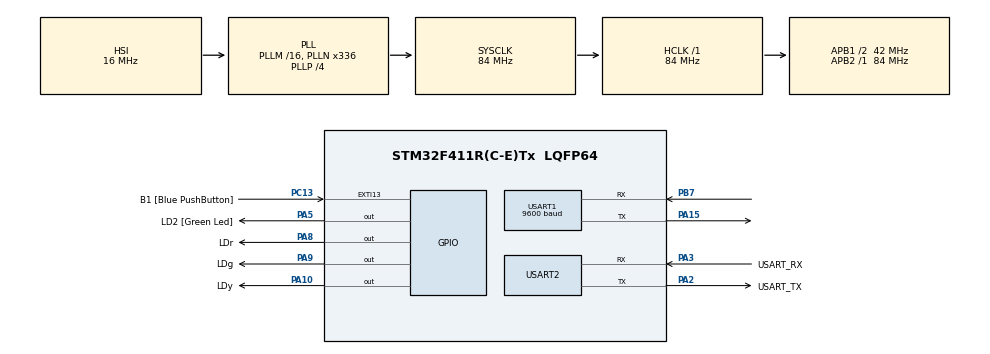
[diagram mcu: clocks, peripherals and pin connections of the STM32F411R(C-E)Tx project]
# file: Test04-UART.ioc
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Dma.Request0=USART2_RX
Dma.USART2_RX.0.Direction=DMA_PERIPH_TO_MEMORY
Dma.USART2_RX.0.FIFOMode=DMA_FIFOMODE_DISABLE
Dma.USART2_RX.0.Instance=DMA1_Stream5
Dma.USART2_RX.0.MemDataAlignment=DMA_MDATAALIGN_BYTE
Dma.USART2_RX.0.MemInc=DMA_MINC_ENABLE
Dma.USART2_RX.0.Mode=DMA_CIRCULAR
Dma.USART2_RX.0.PeriphDataAlignment=DMA_PDATAALIGN_BYTE
Dma.USART2_RX.0.PeriphInc=DMA_PINC_DISABLE
Dma.USART2_RX.0.Priority=DMA_PRIORITY_LOW
Mcu.Family=STM32F4
Mcu.Name=STM32F411R(C-E)Tx
Mcu.Package=LQFP64
NVIC.DMA1_Stream5_IRQn=true\:0\:0\:false\:false\:true\:false\:true\:true
NVIC.EXTI15_10_IRQn=true\:0\:0\:false\:false\:true\:true\:true\:true
NVIC.PriorityGroup=NVIC_PRIORITYGROUP_0
NVIC.TIM3_IRQn=true\:0\:0\:false\:false\:true\:true\:true\:true
NVIC.USART1_IRQn=true\:0\:0\:false\:false\:true\:true\:true\:true
PA10.GPIO_Label=LDy
PA10.Signal=GPIO_Output
PA13.GPIO_Label=TMS
PA13.Mode=Serial_Wire
PA13.Signal=SYS_JTMS-SWDIO
PA14.GPIO_Label=TCK
PA14.Mode=Serial_Wire
PA14.Signal=SYS_JTCK-SWCLK
PA15.Mode=Asynchronous
PA15.Signal=USART1_TX
PA2.GPIO_Label=USART_TX
PA2.Mode=Asynchronous
PA2.Signal=USART2_TX
PA3.GPIO_Label=USART_RX
PA3.Mode=Asynchronous
PA3.Signal=USART2_RX
PA5.GPIO_Label=LD2 [Green Led]
PA5.Signal=GPIO_Output
PA8.GPIO_Label=LDr
PA8.Signal=GPIO_Output
PA9.GPIO_Label=LDg
PA9.Signal=GPIO_Output
PB3.GPIO_Label=SWO
PB3.Signal=SYS_JTDO-SWO
PB7.Mode=Asynchronous
PB7.Signal=USART1_RX
PC13-ANTI_TAMP.GPIO_Label=B1 [Blue PushButton]
PC13-ANTI_TAMP.GPIO_ModeDefaultEXTI=GPIO_MODE_IT_FALLING
PC13-ANTI_TAMP.Signal=GPXTI13
PC14-OSC32_IN.Mode=LSE-External-Oscillator
PC14-OSC32_IN.Signal=RCC_OSC32_IN
PC15-OSC32_OUT.Mode=LSE-External-Oscillator
PC15-OSC32_OUT.Signal=RCC_OSC32_OUT
PH0\ -\ OSC_IN.Mode=HSE-External-Clock-Source
PH0\ -\ OSC_IN.Signal=RCC_OSC_IN
PH1\ -\ OSC_OUT.Mode=HSE-External-Clock-Source
PH1\ -\ OSC_OUT.Signal=RCC_OSC_OUT
ProjectManager.HeapSize=0x200
ProjectManager.StackSize=0x400
ProjectManager.TargetToolchain=STM32CubeIDE
RCC.48MHZClocksFreq_Value=84000000
RCC.AHBFreq_Value=84000000
RCC.APB1CLKDivider=RCC_HCLK_DIV2
RCC.APB1Freq_Value=42000000
RCC.APB1TimFreq_Value=84000000
RCC.APB2Freq_Value=84000000
RCC.APB2TimFreq_Value=84000000
RCC.CortexFreq_Value=84000000
RCC.FLatency-AdvancedSettings=FLASH_LATENCY_2
RCC.HCLKFreq_Value=84000000
RCC.HSE_VALUE=8000000
RCC.HSI_VALUE=16000000
RCC.PLLN=336
RCC.PLLP=RCC_PLLP_DIV4
RCC.SYSCLKFreq_VALUE=84000000
RCC.SYSCLKSource=RCC_SYSCLKSOURCE_PLLCLK
RCC.VCOOutputFreq_Value=336000000
TIM3.Period=10000-1
TIM3.Prescaler=8400-1
USART1.BaudRate=9600
USART1.VirtualMode=VM_ASYNC
USART2.VirtualMode=VM_ASYNC
VP_TIM3_VS_ClockSourceINT.Mode=Internal
board=NUCLEO-F411RE

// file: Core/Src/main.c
/* USER CODE BEGIN Header */
/**
  ******************************************************************************
  * @file           : main.c
  * @brief          : Main program body
  ******************************************************************************
  * @attention
  *
  * Copyright (c) 2023 STMicroelectronics.
  * All rights reserved.
  *
  * This software is licensed under terms that can be found in the LICENSE file
  * in the root directory of this software component.
  * If no LICENSE file comes with this software, it is provided AS-IS.
  *
  ******************************************************************************
  */
/* USER CODE END Header */
#include "main.h"

/* USER CODE BEGIN PD */
#define RX_BUF_SIZE 1024
/* USER CODE END PD */

TIM_HandleTypeDef htim3;

UART_HandleTypeDef huart1;
UART_HandleTypeDef huart2;
DMA_HandleTypeDef hdma_usart2_rx;

void SystemClock_Config(void);
static void MX_GPIO_Init(void);
static void MX_DMA_Init(void);
static void MX_USART2_UART_Init(void);
static void MX_USART1_UART_Init(void);
static void MX_TIM3_Init(void);

/* USER CODE BEGIN 0 */
int __io_putchar(int ch) // printf
{
  HAL_UART_Transmit(&huart2, &ch, 1, 10);
  return ch;
}
int __io_getchar(void) // scanf
{
  int ch = 0;
  while(1)
  {
    HAL_StatusTypeDef r = HAL_UART_Receive(&huart2, &ch, 1, 10);
    if(r == HAL_OK) break;
  }
  HAL_UART_Transmit(&huart2, &ch, 1, 10);
  return ch;
}
int scanfEx1(int *k)
{
  unsigned char buf[10], c;
  int idx = 0;

  while(1)
  {
    c = __io_getchar();
    if(c == 0x0d) break;
    if(idx > 9)
    {
      printf("\n");
      printf("too long\n");
      break;
    }
    buf[idx++] = c;
  }
  buf[idx] = 0;
  *k = atoi(buf);
  return 1;
}
int GetKey()
{
  return __io_getchar();
}
char rxBuf[RX_BUF_SIZE], rx;
char dmaBuf[RX_BUF_SIZE];
int head = 0, tail = 0;
int rxIdx = 0;
char *GetDmaData()
{
  int len = 0;
  tail = RX_BUF_SIZE - huart2.hdmarx->Instance->NDTR;

  if(head == tail) return 0;
  if(tail > head)
  {
    memcpy(dmaBuf, rxBuf + head, tail - head); len = tail - head;
  }
  else
  {
    memcpy(dmaBuf, rxBuf + head, RX_BUF_SIZE - head);
    memcpy(dmaBuf + RX_BUF_SIZE - head, rxBuf, tail);
    len = RX_BUF_SIZE - head + tail;
  }
  dmaBuf[len] = 0;
  head = tail;
  return dmaBuf;
}
void HAL_UART_RxCpltCallback(UART_HandleTypeDef *huart)
{
  if(huart->Instance == huart1)
  {
    HAL_UART_Transmit(&huart2, &rx, 1, 10);
    HAL_UART_Receive_IT(huart, &rx, 1);
  }
}
void HAL_TIM_PeriodElapsedCallback(TIM_HandleTypeDef *htim)
{
  char *str = GetDmaData(); // str = 0, if no data
  if(str)
  {
    printf("%s\r\n", str);
  }
}
void HAL_GPIO_EXTI_Callback(uint16_t GPIO_Pin)
{
  if(GPIO_Pin == B1_Pin)
  {
    char *str = GetDmaData(); // str = 0, if no data
    if(str)
    {
      printf("[Receive Buffer] %s\r\n", rxBuf);
      printf("[Receive String] %s\r\n\n", str);
    }
  }
//  HAL_Delay(1000);
}
/* USER CODE END 0 */

int main(void)
{

  /* MCU Configuration--------------------------------------------------------*/

  /* Reset of all peripherals, Initializes the Flash interface and the Systick. */
  HAL_Init();

  /* Configure the system clock */
  SystemClock_Config();

  /* Initialize all configured peripherals */
  MX_GPIO_Init();
  MX_DMA_Init();
  MX_USART2_UART_Init();
  MX_USART1_UART_Init();
  MX_TIM3_Init();
  /* USER CODE BEGIN 2 */
  int k = 0;
  printf("\033[2J\033[1;1HUART Program Started...\r\n");

  HAL_UART_Receive_DMA(&huart2, rxBuf, RX_BUF_SIZE);
  HAL_UARTEx_Receive_IT(&huart1, &rx, 1);
  /* USER CODE END 2 */

  /* Infinite loop */
  while (1)
  {

    /* USER CODE BEGIN 3 */
//    char *str = GetDmaData(); // str = 0, if no data
//    if(str)
//    {
////      rxBuf[rxIdx] = 0;
//      printf("[Receive Buffer] %s\r\n", rxBuf);
//      printf("[Receive String] %s\r\n\n", str);
//    }
//    HAL_Delay(1000);
  }
  /* USER CODE END 3 */
}

void SystemClock_Config(void)
{
  RCC_OscInitTypeDef RCC_OscInitStruct = {0};
  RCC_ClkInitTypeDef RCC_ClkInitStruct = {0};

  /** Configure the main internal regulator output voltage
  */
  __HAL_RCC_PWR_CLK_ENABLE();
  __HAL_PWR_VOLTAGESCALING_CONFIG(PWR_REGULATOR_VOLTAGE_SCALE1);

  /** Initializes the RCC Oscillators according to the specified parameters
  * in the RCC_OscInitTypeDef structure.
  */
  RCC_OscInitStruct.OscillatorType = RCC_OSCILLATORTYPE_HSI;
  RCC_OscInitStruct.HSIState = RCC_HSI_ON;
  RCC_OscInitStruct.HSICalibrationValue = RCC_HSICALIBRATION_DEFAULT;
  RCC_OscInitStruct.PLL.PLLState = RCC_PLL_ON;
  RCC_OscInitStruct.PLL.PLLSource = RCC_PLLSOURCE_HSI;
  RCC_OscInitStruct.PLL.PLLM = 16;
  RCC_OscInitStruct.PLL.PLLN = 336;
  RCC_OscInitStruct.PLL.PLLP = RCC_PLLP_DIV4;
  RCC_OscInitStruct.PLL.PLLQ = 4;
  if (HAL_RCC_OscConfig(&RCC_OscInitStruct) != HAL_OK)
  {
    Error_Handler();
  }

  /** Initializes the CPU, AHB and APB buses clocks
  */
  RCC_ClkInitStruct.ClockType = RCC_CLOCKTYPE_HCLK|RCC_CLOCKTYPE_SYSCLK
                              |RCC_CLOCKTYPE_PCLK1|RCC_CLOCKTYPE_PCLK2;
  RCC_ClkInitStruct.SYSCLKSource = RCC_SYSCLKSOURCE_PLLCLK;
  RCC_ClkInitStruct.AHBCLKDivider = RCC_SYSCLK_DIV1;
  RCC_ClkInitStruct.APB1CLKDivider = RCC_HCLK_DIV2;
  RCC_ClkInitStruct.APB2CLKDivider = RCC_HCLK_DIV1;

  if (HAL_RCC_ClockConfig(&RCC_ClkInitStruct, FLASH_LATENCY_2) != HAL_OK)
  {
    Error_Handler();
  }
}

static void MX_TIM3_Init(void)
{

  TIM_ClockConfigTypeDef sClockSourceConfig = {0};
  TIM_MasterConfigTypeDef sMasterConfig = {0};

  htim3.Instance = TIM3;
  htim3.Init.Prescaler = 8400-1;
  htim3.Init.CounterMode = TIM_COUNTERMODE_UP;
  htim3.Init.Period = 10000-1;
  htim3.Init.ClockDivision = TIM_CLOCKDIVISION_DIV1;
  htim3.Init.AutoReloadPreload = TIM_AUTORELOAD_PRELOAD_DISABLE;
  if (HAL_TIM_Base_Init(&htim3) != HAL_OK)
  {
    Error_Handler();
  }
  sClockSourceConfig.ClockSource = TIM_CLOCKSOURCE_INTERNAL;
  if (HAL_TIM_ConfigClockSource(&htim3, &sClockSourceConfig) != HAL_OK)
  {
    Error_Handler();
  }
  sMasterConfig.MasterOutputTrigger = TIM_TRGO_RESET;
  sMasterConfig.MasterSlaveMode = TIM_MASTERSLAVEMODE_DISABLE;
  if (HAL_TIMEx_MasterConfigSynchronization(&htim3, &sMasterConfig) != HAL_OK)
  {
    Error_Handler();
  }

}

static void MX_USART1_UART_Init(void)
{

  huart1.Instance = USART1;
  huart1.Init.BaudRate = 9600;
  huart1.Init.WordLength = UART_WORDLENGTH_8B;
  huart1.Init.StopBits = UART_STOPBITS_1;
  huart1.Init.Parity = UART_PARITY_NONE;
  huart1.Init.Mode = UART_MODE_TX_RX;
  huart1.Init.HwFlowCtl = UART_HWCONTROL_NONE;
  huart1.Init.OverSampling = UART_OVERSAMPLING_16;
  if (HAL_UART_Init(&huart1) != HAL_OK)
  {
    Error_Handler();
  }

}

static void MX_USART2_UART_Init(void)
{

  huart2.Instance = USART2;
  huart2.Init.BaudRate = 115200;
  huart2.Init.WordLength = UART_WORDLENGTH_8B;
  huart2.Init.StopBits = UART_STOPBITS_1;
  huart2.Init.Parity = UART_PARITY_NONE;
  huart2.Init.Mode = UART_MODE_TX_RX;
  huart2.Init.HwFlowCtl = UART_HWCONTROL_NONE;
  huart2.Init.OverSampling = UART_OVERSAMPLING_16;
  if (HAL_UART_Init(&huart2) != HAL_OK)
  {
    Error_Handler();
  }

}

static void MX_DMA_Init(void)
{

  /* DMA controller clock enable */
  __HAL_RCC_DMA1_CLK_ENABLE();

  /* DMA interrupt init */
  /* DMA1_Stream5_IRQn interrupt configuration */
  HAL_NVIC_SetPriority(DMA1_Stream5_IRQn, 0, 0);
  HAL_NVIC_EnableIRQ(DMA1_Stream5_IRQn);

}

static void MX_GPIO_Init(void)
{
  GPIO_InitTypeDef GPIO_InitStruct = {0};

  /* GPIO Ports Clock Enable */
  __HAL_RCC_GPIOC_CLK_ENABLE();
  __HAL_RCC_GPIOH_CLK_ENABLE();
  __HAL_RCC_GPIOA_CLK_ENABLE();
  __HAL_RCC_GPIOB_CLK_ENABLE();

  /*Configure GPIO pin Output Level */
  HAL_GPIO_WritePin(GPIOA, LD2_Pin|LDr_Pin|LDg_Pin|LDy_Pin, GPIO_PIN_RESET);

  /*Configure GPIO pin : B1_Pin */
  GPIO_InitStruct.Pin = B1_Pin;
  GPIO_InitStruct.Mode = GPIO_MODE_IT_FALLING;
  GPIO_InitStruct.Pull = GPIO_NOPULL;
  HAL_GPIO_Init(B1_GPIO_Port, &GPIO_InitStruct);

  /*Configure GPIO pins : LD2_Pin LDr_Pin LDg_Pin LDy_Pin */
  GPIO_InitStruct.Pin = LD2_Pin|LDr_Pin|LDg_Pin|LDy_Pin;
  GPIO_InitStruct.Mode = GPIO_MODE_OUTPUT_PP;
  GPIO_InitStruct.Pull = GPIO_NOPULL;
  GPIO_InitStruct.Speed = GPIO_SPEED_FREQ_LOW;
  HAL_GPIO_Init(GPIOA, &GPIO_InitStruct);

  /* EXTI interrupt init*/
  HAL_NVIC_SetPriority(EXTI15_10_IRQn, 0, 0);
  HAL_NVIC_EnableIRQ(EXTI15_10_IRQn);

}

void Error_Handler(void)
{
  __disable_irq();
  while (1)
  {
  }
}
